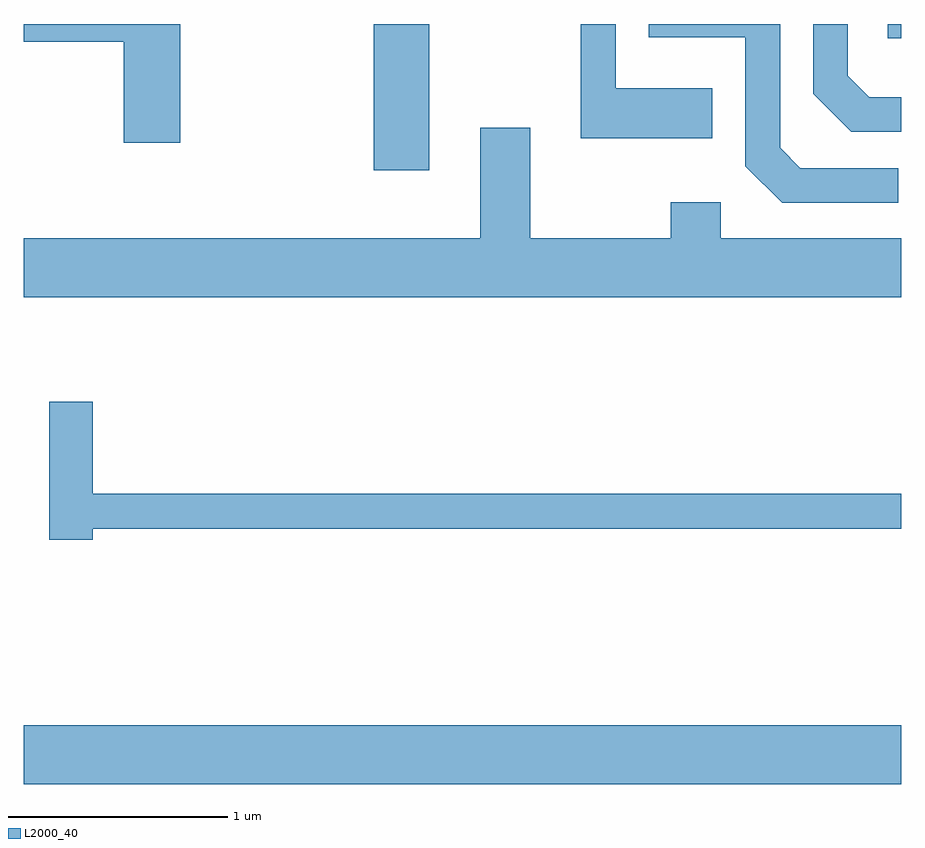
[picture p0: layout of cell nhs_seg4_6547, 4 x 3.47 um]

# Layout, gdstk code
import gdstk
lib = gdstk.Library(unit=1e-6, precision=1e-09)
def R(c, l, rs):  # rectangles x0, y0, x1, y1
    for r in rs: c.add(gdstk.rectangle(r[:2], r[2:], *l))
def P(c, l, *ps):  # polygons
    for p in ps: c.add(gdstk.Polygon(p, *l))
L2000_40 = (2000, 40)

nhs_seg4_6547 = lib.new_cell('nhs_seg4_6547')
R(nhs_seg4_6547, L2000_40, [(377.611,1292.516,381.611,1292.784), (379.206,1295.316,379.459,1295.982), (381.551,1295.916,381.611,1295.982)])
P(nhs_seg4_6547, L2000_40, [(378.324,1295.982),(377.611,1295.982),(377.611,1295.901),(378.066,1295.901),(378.066,1295.441),(378.324,1295.441)],
  [(381.598,1295.324),(381.152,1295.324),(381.059,1295.417),(381.059,1295.982),(380.461,1295.982),(380.461,1295.921),(380.901,1295.921),(380.901,1295.334),(381.069,1295.166),(381.598,1295.166)],
  [(380.749,1295.689),(380.309,1295.689),(380.309,1295.982),(380.151,1295.982),(380.151,1295.461),(380.749,1295.461)],
  [(381.611,1295.649),(381.467,1295.649),(381.369,1295.747),(381.369,1295.982),(381.211,1295.982),(381.211,1295.664),(381.384,1295.491),(381.611,1295.491)],
  [(381.611,1295.004),(380.789,1295.004),(380.789,1295.169),(380.561,1295.169),(380.561,1295.004),(379.919,1295.004),(379.919,1295.509),(379.691,1295.509),(379.691,1295.004),(377.611,1295.004),(377.611,1294.736),(381.611,1294.736)],
  [(377.924,1293.681),(381.611,1293.681),(381.611,1293.839),(377.924,1293.839),(377.924,1294.259),(377.726,1294.259),(377.726,1293.631),(377.924,1293.631)])

lib.write_gds('nhs_seg4_6547.gds')
